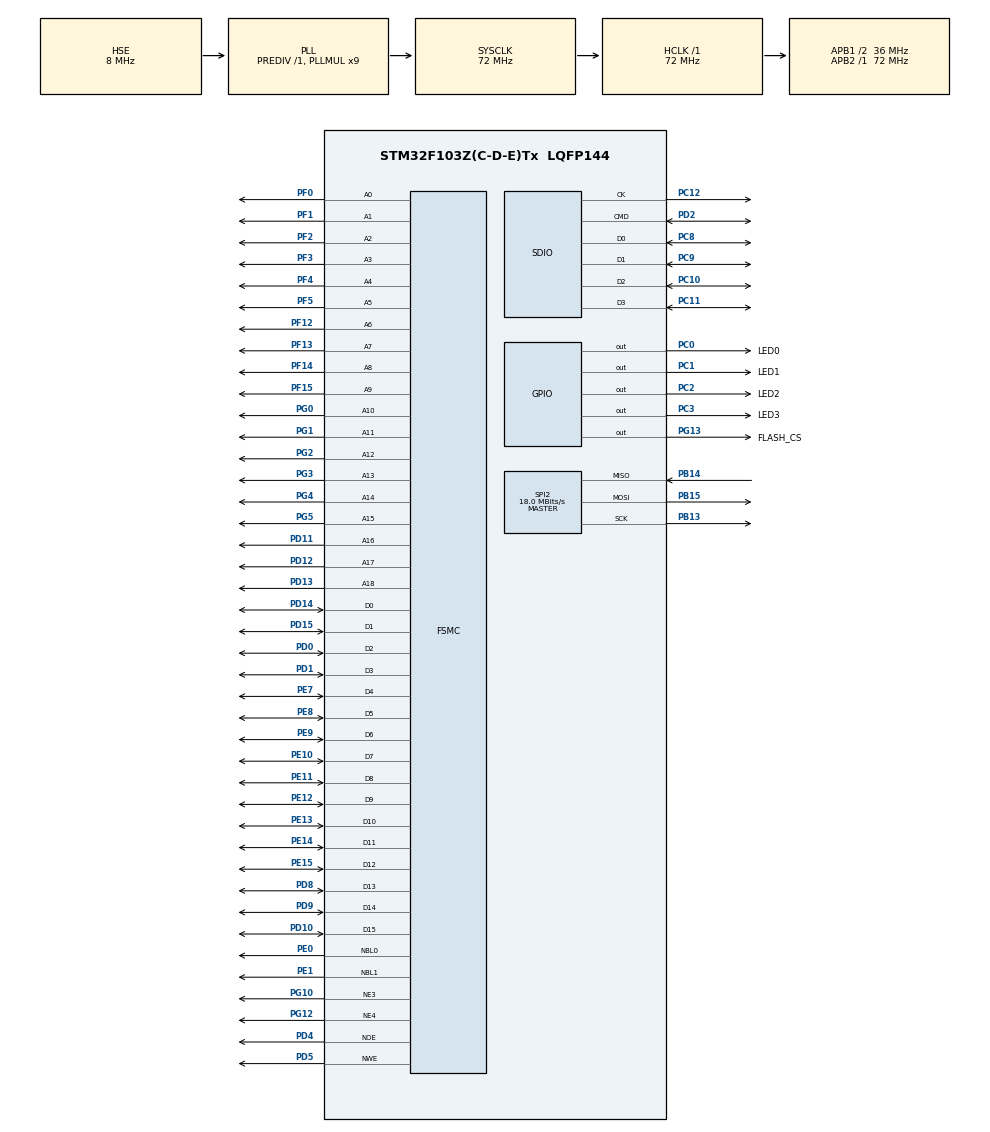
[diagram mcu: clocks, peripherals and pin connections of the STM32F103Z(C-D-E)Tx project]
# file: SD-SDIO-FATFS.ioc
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FATFS._CODE_PAGE=936
FATFS._MAX_SS=4096
FATFS._MIN_SS=512
FATFS._USE_LFN=2
FSMC.AddressSetupTime1=0
FSMC.BusTurnAroundDuration1=0
FSMC.DataSetupTime1=3
Mcu.Family=STM32F1
Mcu.Name=STM32F103Z(C-D-E)Tx
Mcu.Package=LQFP144
NVIC.PriorityGroup=NVIC_PRIORITYGROUP_4
NVIC.SDIO_IRQn=true\:0\:0\:false\:false\:true\:true\:true
NVIC.SPI2_IRQn=true\:0\:0\:false\:false\:true\:true\:true
OSC_IN.Mode=HSE-External-Oscillator
OSC_IN.Signal=RCC_OSC_IN
OSC_OUT.Mode=HSE-External-Oscillator
OSC_OUT.Signal=RCC_OSC_OUT
PA13.Mode=Serial_Wire
PA13.Signal=SYS_JTMS-SWDIO
PA14.Mode=Serial_Wire
PA14.Signal=SYS_JTCK-SWCLK
PB13.Mode=Full_Duplex_Master
PB13.Signal=SPI2_SCK
PB14.Mode=Full_Duplex_Master
PB14.Signal=SPI2_MISO
PB15.Mode=Full_Duplex_Master
PB15.Signal=SPI2_MOSI
PC0.GPIO_Label=LED0
PC0.GPIO_ModeDefaultOutputPP=GPIO_MODE_OUTPUT_PP
PC0.GPIO_PuPd=GPIO_NOPULL
PC0.GPIO_Speed=GPIO_SPEED_FREQ_LOW
PC0.PinState=GPIO_PIN_SET
PC0.Signal=GPIO_Output
PC1.GPIO_Label=LED1
PC1.GPIO_ModeDefaultOutputPP=GPIO_MODE_OUTPUT_PP
PC1.GPIO_PuPd=GPIO_NOPULL
PC1.GPIO_Speed=GPIO_SPEED_FREQ_LOW
PC1.PinState=GPIO_PIN_SET
PC1.Signal=GPIO_Output
PC10.Mode=SD_4_bits_Wide_bus
PC10.Signal=SDIO_D2
PC11.Mode=SD_4_bits_Wide_bus
PC11.Signal=SDIO_D3
PC12.Mode=SD_4_bits_Wide_bus
PC12.Signal=SDIO_CK
PC2.GPIO_Label=LED2
PC2.GPIO_ModeDefaultOutputPP=GPIO_MODE_OUTPUT_PP
PC2.GPIO_PuPd=GPIO_NOPULL
PC2.GPIO_Speed=GPIO_SPEED_FREQ_LOW
PC2.PinState=GPIO_PIN_SET
PC2.Signal=GPIO_Output
PC3.GPIO_Label=LED3
PC3.GPIO_ModeDefaultOutputPP=GPIO_MODE_OUTPUT_PP
PC3.GPIO_PuPd=GPIO_NOPULL
PC3.GPIO_Speed=GPIO_SPEED_FREQ_LOW
PC3.PinState=GPIO_PIN_SET
PC3.Signal=GPIO_Output
PC8.Mode=SD_4_bits_Wide_bus
PC8.Signal=SDIO_D0
PC9.Mode=SD_4_bits_Wide_bus
PC9.Signal=SDIO_D1
PD0.Signal=FSMC_D2_DA2
PD1.Signal=FSMC_D3_DA3
PD10.Signal=FSMC_D15_DA15
PD11.Signal=FSMC_A16_CLE
PD12.Signal=FSMC_A17_ALE
PD13.Signal=FSMC_A18
PD14.Signal=FSMC_D0_DA0
PD15.Signal=FSMC_D1_DA1
PD2.Mode=SD_4_bits_Wide_bus
PD2.Signal=SDIO_CMD
PD4.Signal=FSMC_NOE
PD5.Signal=FSMC_NWE
PD8.Signal=FSMC_D13_DA13
PD9.Signal=FSMC_D14_DA14
PE0.Signal=FSMC_NBL0
PE1.Signal=FSMC_NBL1
PE10.Signal=FSMC_D7_DA7
PE11.Signal=FSMC_D8_DA8
PE12.Signal=FSMC_D9_DA9
PE13.Signal=FSMC_D10_DA10
PE14.Signal=FSMC_D11_DA11
PE15.Signal=FSMC_D12_DA12
PE7.Signal=FSMC_D4_DA4
PE8.Signal=FSMC_D5_DA5
PE9.Signal=FSMC_D6_DA6
PF0.Signal=FSMC_A0
PF1.Signal=FSMC_A1
PF12.Signal=FSMC_A6
PF13.Signal=FSMC_A7
PF14.Signal=FSMC_A8
PF15.Signal=FSMC_A9
PF2.Signal=FSMC_A2
PF3.Signal=FSMC_A3
PF4.Signal=FSMC_A4
PF5.Signal=FSMC_A5
PG0.Signal=FSMC_A10
PG1.Signal=FSMC_A11
PG10.Mode=NorPsramChipSelect3_2
PG10.Signal=FSMC_NE3
PG12.Mode=NorPsramChipSelect4_1
PG12.Signal=FSMC_NE4
PG13.GPIO_Label=FLASH_CS
PG13.GPIO_Speed=GPIO_SPEED_FREQ_HIGH
PG13.PinState=GPIO_PIN_SET
PG13.Signal=GPIO_Output
PG2.Signal=FSMC_A12
PG3.Signal=FSMC_A13
PG4.Signal=FSMC_A14
PG5.Signal=FSMC_A15
ProjectManager.HeapSize=0x200
ProjectManager.StackSize=0x400
ProjectManager.TargetToolchain=MDK-ARM V5.27
RCC.AHBFreq_Value=72000000
RCC.APB1CLKDivider=RCC_HCLK_DIV2
RCC.APB1Freq_Value=36000000
RCC.APB1TimFreq_Value=72000000
RCC.APB2Freq_Value=72000000
RCC.APB2TimFreq_Value=72000000
RCC.HCLKFreq_Value=72000000
RCC.PLLMUL=RCC_PLL_MUL9
RCC.PLLSourceVirtual=RCC_PLLSOURCE_HSE
RCC.SYSCLKFreq_VALUE=72000000
RCC.SYSCLKSource=RCC_SYSCLKSOURCE_PLLCLK
RCC.USBFreq_Value=72000000
SDIO.ClockBypass=SDIO_CLOCK_BYPASS_DISABLE
SH.FSMC_A0.0=FSMC_A0,19b-a2
SH.FSMC_A1.0=FSMC_A1,19b-a2
SH.FSMC_A10.0=FSMC_A10,A10_1
SH.FSMC_A10.1=FSMC_A10,19b-a2
SH.FSMC_A11.0=FSMC_A11,19b-a2
SH.FSMC_A12.0=FSMC_A12,19b-a2
SH.FSMC_A13.0=FSMC_A13,19b-a2
SH.FSMC_A14.0=FSMC_A14,19b-a2
SH.FSMC_A15.0=FSMC_A15,19b-a2
SH.FSMC_A16_CLE.0=FSMC_A16,19b-a2
SH.FSMC_A17_ALE.0=FSMC_A17,19b-a2
SH.FSMC_A18.0=FSMC_A18,19b-a2
SH.FSMC_A2.0=FSMC_A2,19b-a2
SH.FSMC_A3.0=FSMC_A3,19b-a2
SH.FSMC_A4.0=FSMC_A4,19b-a2
SH.FSMC_A5.0=FSMC_A5,19b-a2
SH.FSMC_A6.0=FSMC_A6,19b-a2
SH.FSMC_A7.0=FSMC_A7,19b-a2
SH.FSMC_A8.0=FSMC_A8,19b-a2
SH.FSMC_A9.0=FSMC_A9,19b-a2
SH.FSMC_D0_DA0.0=FSMC_D0,16b-d1
SH.FSMC_D0_DA0.1=FSMC_D0,16b-d2
SH.FSMC_D10_DA10.0=FSMC_D10,16b-d1
SH.FSMC_D10_DA10.1=FSMC_D10,16b-d2
SH.FSMC_D11_DA11.0=FSMC_D11,16b-d1
SH.FSMC_D11_DA11.1=FSMC_D11,16b-d2
SH.FSMC_D12_DA12.0=FSMC_D12,16b-d1
SH.FSMC_D12_DA12.1=FSMC_D12,16b-d2
SH.FSMC_D13_DA13.0=FSMC_D13,16b-d1
SH.FSMC_D13_DA13.1=FSMC_D13,16b-d2
SH.FSMC_D14_DA14.0=FSMC_D14,16b-d1
SH.FSMC_D14_DA14.1=FSMC_D14,16b-d2
SH.FSMC_D15_DA15.0=FSMC_D15,16b-d1
SH.FSMC_D15_DA15.1=FSMC_D15,16b-d2
SH.FSMC_D1_DA1.0=FSMC_D1,16b-d1
SH.FSMC_D1_DA1.1=FSMC_D1,16b-d2
SH.FSMC_D2_DA2.0=FSMC_D2,16b-d1
SH.FSMC_D2_DA2.1=FSMC_D2,16b-d2
SH.FSMC_D3_DA3.0=FSMC_D3,16b-d1
SH.FSMC_D3_DA3.1=FSMC_D3,16b-d2
SH.FSMC_D4_DA4.0=FSMC_D4,16b-d1
SH.FSMC_D4_DA4.1=FSMC_D4,16b-d2
SH.FSMC_D5_DA5.0=FSMC_D5,16b-d1
SH.FSMC_D5_DA5.1=FSMC_D5,16b-d2
SH.FSMC_D6_DA6.0=FSMC_D6,16b-d1
SH.FSMC_D6_DA6.1=FSMC_D6,16b-d2
SH.FSMC_D7_DA7.0=FSMC_D7,16b-d1
SH.FSMC_D7_DA7.1=FSMC_D7,16b-d2
SH.FSMC_D8_DA8.0=FSMC_D8,16b-d1
SH.FSMC_D8_DA8.1=FSMC_D8,16b-d2
SH.FSMC_D9_DA9.0=FSMC_D9,16b-d1
SH.FSMC_D9_DA9.1=FSMC_D9,16b-d2
SH.FSMC_NBL0.0=FSMC_NBL0,2ByteEnable2
SH.FSMC_NBL1.0=FSMC_NBL1,2ByteEnable2
SH.FSMC_NOE.0=FSMC_NOE,Lcd1
SH.FSMC_NOE.1=FSMC_NOE,Sram2
SH.FSMC_NWE.0=FSMC_NWE,Lcd1
SH.FSMC_NWE.1=FSMC_NWE,Sram2
SPI2.CalculateBaudRate=18.0 MBits/s
SPI2.Direction=SPI_DIRECTION_2LINES
SPI2.Mode=SPI_MODE_MASTER
SPI2.VirtualType=VM_MASTER
VP_FATFS_VS_SDIO.Mode=SDIO
board=custom

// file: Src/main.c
/* USER CODE BEGIN Header */
/**
  ******************************************************************************
  * @file           : main.c
  * @brief          : Main program body
  ******************************************************************************
  * @attention
  *
  * <h2><center>&copy; Copyright (c) 2020 STMicroelectronics.
  * All rights reserved.</center></h2>
  *
  * This software component is licensed by ST under Ultimate Liberty license
  * SLA0044, the "License"; You may not use this file except in compliance with
  * the License. You may obtain a copy of the License at:
  *                             www.st.com/SLA0044
  *
  ******************************************************************************
  */
/* USER CODE END Header */

#include "main.h"
#include "fatfs.h"
#include "sdio.h"
#include "spi.h"
#include "gpio.h"
#include "fsmc.h"

/* USER CODE BEGIN Includes */
#include <stdio.h>
#include "spi_flash.h"
#include "tftlcd.h"

/* USER CODE END Includes */

void SystemClock_Config(void);

/* USER CODE BEGIN 0 */
int fputc(int ch, FILE *f)
{
	return ITM_SendChar(ch);
}
void printffile(const uint8_t *filepath)
{
	uint32_t size;
	uint8_t fdatas[255];
	UINT brs;
	FRESULT fr=f_open(&SDFile, (const TCHAR *)filepath, FA_READ|FA_WRITE);
	if(fr == FR_OK)
	{
		size = f_size(&SDFile);
		f_read(&SDFile, fdatas, size, &brs);
	}
	else
	{
		printf("-----open error!!!-------\r\n");
	}
	f_close(&SDFile);

	printf("size:%d\r\n",size);
	printf("-------------------\r\n");
	printf("File Path: %s \r\n",filepath);
	printf("File Content: %s \r\n",fdatas);
	printf("-------------------\r\n");

}

/* USER CODE END 0 */

int main(void)
{

  /* MCU Configuration--------------------------------------------------------*/

  /* Reset of all peripherals, Initializes the Flash interface and the Systick. */
  HAL_Init();

  /* Configure the system clock */
  SystemClock_Config();

  /* Initialize all configured peripherals */
  MX_GPIO_Init();
  MX_SDIO_SD_Init();
  MX_FSMC_Init();
  MX_FATFS_Init();
  MX_SPI2_Init();
  /* USER CODE BEGIN 2 */
	HAL_LCD_Init();

	printf("%s\r\n",SDPath);
	FRESULT fr_ERR;
	if((fr_ERR=f_mount(&SDFatFS, SDPath, 1)) != FR_OK)
	{
		printf("f_mount is error!!!  code:%d \r\n", fr_ERR);
	}

		HAL_SD_CardCIDTypeDef HAL_SD_CardCID = {0};
		HAL_SD_GetCardCID(&hsd, &HAL_SD_CardCID);
		HAL_LCD_Print(0, 1 * 12, 12, 1, "Initialize SD card successfully!");
		HAL_LCD_Print(0, 2 * 12, 12, 1, "SD card information!");
		HAL_LCD_Print(0, 3 * 12, 12, 1, "CardCapacity : %llu!", (uint64_t)hsd.SdCard.LogBlockSize * hsd.SdCard.BlockNbr);
		HAL_LCD_Print(0, 4 * 12, 12, 1, "CardBlockNbr: %d!", hsd.SdCard.BlockNbr);
		HAL_LCD_Print(0, 5 * 12, 12, 1, "CardBlockSize : %d!", hsd.SdCard.BlockSize);
		HAL_LCD_Print(0, 6 * 12, 12, 1, "RCA : %d!", hsd.SdCard.RelCardAdd);
		HAL_LCD_Print(0, 7 * 12, 12, 1, "CardType : %d!", hsd.SdCard.CardType);
		HAL_LCD_Print(0, 8 * 12, 12, 1, "ManufacturerID : %d!", HAL_SD_CardCID.ManufacturerID);

		//printf("========SD ID :%d \r\n",SDFile.id);
		printffile("0:/a.txt");
  /* USER CODE END 2 */

  /* Infinite loop */
  while (1)
  {

  }
}

void SystemClock_Config(void)
{
  RCC_OscInitTypeDef RCC_OscInitStruct = {0};
  RCC_ClkInitTypeDef RCC_ClkInitStruct = {0};

  /** Initializes the CPU, AHB and APB busses clocks
  */
  RCC_OscInitStruct.OscillatorType = RCC_OSCILLATORTYPE_HSE;
  RCC_OscInitStruct.HSEState = RCC_HSE_ON;
  RCC_OscInitStruct.HSEPredivValue = RCC_HSE_PREDIV_DIV1;
  RCC_OscInitStruct.HSIState = RCC_HSI_ON;
  RCC_OscInitStruct.PLL.PLLState = RCC_PLL_ON;
  RCC_OscInitStruct.PLL.PLLSource = RCC_PLLSOURCE_HSE;
  RCC_OscInitStruct.PLL.PLLMUL = RCC_PLL_MUL9;
  if (HAL_RCC_OscConfig(&RCC_OscInitStruct) != HAL_OK)
  {
    Error_Handler();
  }
  /** Initializes the CPU, AHB and APB busses clocks
  */
  RCC_ClkInitStruct.ClockType = RCC_CLOCKTYPE_HCLK|RCC_CLOCKTYPE_SYSCLK
                              |RCC_CLOCKTYPE_PCLK1|RCC_CLOCKTYPE_PCLK2;
  RCC_ClkInitStruct.SYSCLKSource = RCC_SYSCLKSOURCE_PLLCLK;
  RCC_ClkInitStruct.AHBCLKDivider = RCC_SYSCLK_DIV1;
  RCC_ClkInitStruct.APB1CLKDivider = RCC_HCLK_DIV2;
  RCC_ClkInitStruct.APB2CLKDivider = RCC_HCLK_DIV1;

  if (HAL_RCC_ClockConfig(&RCC_ClkInitStruct, FLASH_LATENCY_2) != HAL_OK)
  {
    Error_Handler();
  }
}

void Error_Handler(void)
{
}

/************************ (C) COPYRIGHT STMicroelectronics *****END OF FILE****/
